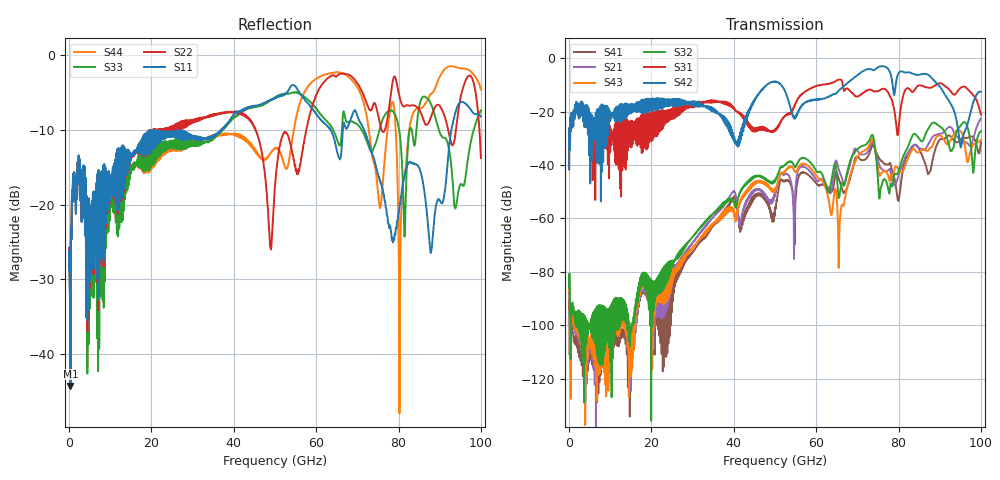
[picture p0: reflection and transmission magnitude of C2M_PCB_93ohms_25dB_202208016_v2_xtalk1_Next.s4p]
! Info: Touchstone file created by Circ.  Input file=Intel_C2M_200G_10p5in_202208016_staggered.circ
# Hz S RI R 50
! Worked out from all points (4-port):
!   10000 points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, 10 MHz to 100 GHz, reference 50 ohm
!   strongest paths, dB at 10 MHz, 25.01 GHz, 50.01 GHz, 75.01 GHz, 100 GHz:
!     S42: -41.5, -16.9, -8.6, -3.4, -12.5
!     S31: -41.6, -21.4, -27.0, -12.3, -21.1
!     S32: -85.9, -77.9, -45.6, -45.4, -27.4
!     S43: -87.0, -81.8, -49.4, -41.5, -30.5
!     S21: -87.4, -80.2, -50.2, -38.3, -22.6
!     S41: -89.7, -81.2, -56.5, -36.6, -31.6
!   lowest |S11| = -44.3 dB at 320 MHz (marker M1), VSWR 1.01, Z = 49.7 + j0.532 ohm
!   |S11| at or under -10 dB: start of sweep to 20.5 GHz; 20.79 GHz to 36.86 GHz (16.06 GHz wide, 55.7 % of centre); 71.6 GHz to 92.82 GHz (21.22 GHz wide, 25.8 % of centre)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
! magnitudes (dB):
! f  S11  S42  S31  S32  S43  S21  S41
! 10 MHz  -28.7  -41.5  -41.6  -85.9  -87.0  -87.4  -89.7
! 320 MHz  -44.3  -22.3  -22.3  -94.5  -100.5  -100.7  -101.2
! 65.64 GHz  -13.8  -11.9  -8.0  -51.8  -64.5  -42.4  -45.8
! 73.47 GHz  -13.0  -4.2  -11.9  -28.9  -30.6  -31.7  -33.1
! 76.02 GHz  -17.8  -3.0  -11.5  -46.9  -42.8  -41.6  -38.7
! 95.2 GHz  -6.2  -33.1  -10.9  -25.0  -27.5  -31.0  -30.2
! 100 GHz  -8.2  -12.5  -21.1  -27.4  -30.5  -22.6  -31.6
